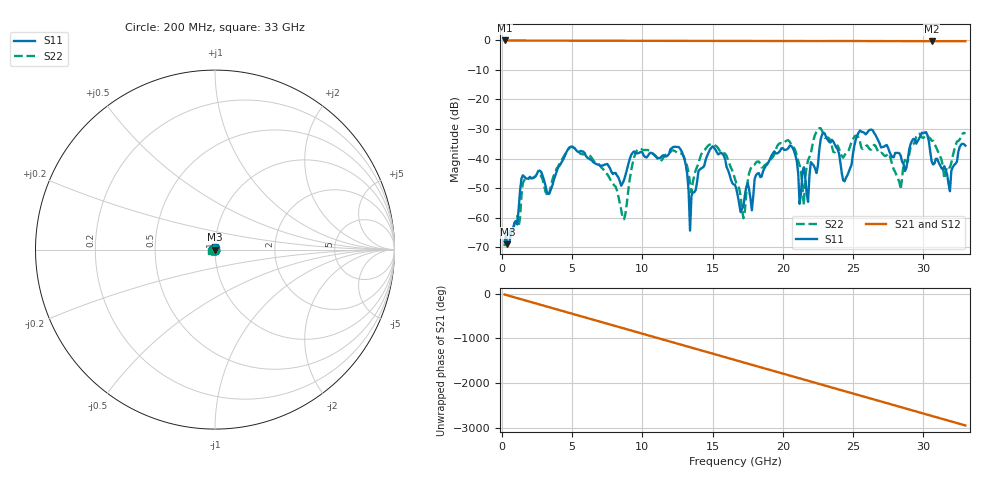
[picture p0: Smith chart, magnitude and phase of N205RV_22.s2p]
# GHZ S RI R 50
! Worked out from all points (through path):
!   329 points, 200 MHz to 33 GHz, reference 50 ohm
!   highest |S21| = -0.02 dB at 200 MHz (marker M1); lowest = -0.3 dB at 30.6 GHz (marker M2)
!   group delay of S21, straight-line fit = 248 ps
!   lowest |S11| = -69.0 dB at 400 MHz (marker M3), VSWR 1.00, Z = 50 + j0.00917 ohm
!   |S11| at or under -10 dB: start of sweep to end of sweep
!   |S22| runs from -69.6 to -29.7 dB; largest |S21 - S12| = 0.0019
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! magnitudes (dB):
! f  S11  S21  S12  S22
! 200 MHz  -68.0  0.0  0.0  -69.6
! 400 MHz  -69.0  0.0  0.0  -65.2
! 1.5 GHz  -45.7  -0.1  -0.1  -48.3
! 5.7 GHz  -37.5  -0.1  -0.1  -38.5
! 8.7 GHz  -47.3  -0.1  -0.1  -60.5
! 9.6 GHz  -38.2  -0.1  -0.1  -37.4
! 11.2 GHz  -39.8  -0.2  -0.2  -40.8
! 12.8 GHz  -37.5  -0.2  -0.2  -38.3
! 13.4 GHz  -64.4  -0.2  -0.2  -48.5
! 15 GHz  -35.9  -0.2  -0.2  -35.4
! 16.6 GHz  -48.9  -0.2  -0.2  -46.9
! 17.2 GHz  -56.0  -0.2  -0.2  -60.2
! 17.8 GHz  -57.5  -0.2  -0.2  -42.6
! 20.4 GHz  -36.5  -0.2  -0.2  -33.8
! 21.2 GHz  -55.3  -0.2  -0.2  -42.3
! 21.5 GHz  -43.0  -0.2  -0.2  -55.7
! 22.1 GHz  -41.7  -0.2  -0.2  -35.6
! 27.6 GHz  -37.8  -0.2  -0.2  -38.8
! 28.4 GHz  -39.1  -0.2  -0.2  -50.4
! 30.6 GHz  -41.0  -0.3  -0.3  -34.0
! 31.5 GHz  -42.6  -0.3  -0.3  -46.8
! 33 GHz  -35.6  -0.2  -0.2  -31.6
